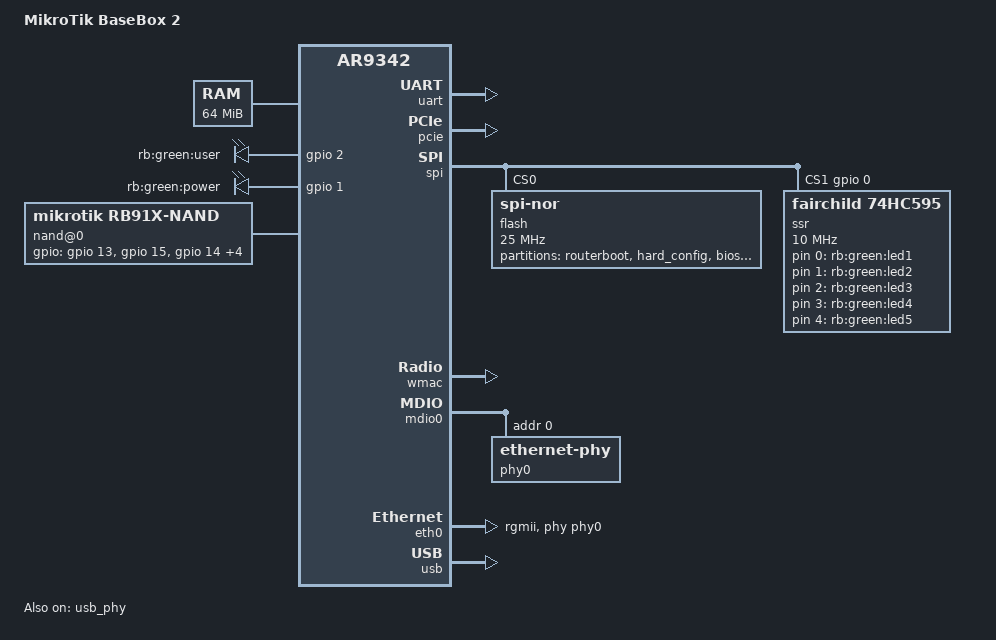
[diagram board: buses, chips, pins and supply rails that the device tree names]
// SPDX-License-Identifier: GPL-2.0
/dts-v1/;

#include <dt-bindings/gpio/gpio.h>
#include <dt-bindings/input/input.h>

#include "ar9344.dtsi"

/ {
	compatible = "mikrotik,basebox-2", "qca,ar9342";
	model = "MikroTik BaseBox 2";

	memory {
		device_type = "memory";
		reg = <0x0 0x4000000>;
	};

	aliases {
		led-boot = &user;
		led-failsafe = &user;
		led-running = &user;
		led-upgrade = &user;
	};

	leds {
		compatible = "gpio-leds";
		
		led1 {
			label = "rb:green:led1";
			gpios = <&ssr 0 GPIO_ACTIVE_HIGH>;
		};

		led2 {
			label = "rb:green:led2";
			gpios = <&ssr 1 GPIO_ACTIVE_HIGH>;
		};

		led3 {
			label = "rb:green:led3";
			gpios = <&ssr 2 GPIO_ACTIVE_HIGH>;
		};

		led4 {
			label = "rb:green:led4";
			gpios = <&ssr 3 GPIO_ACTIVE_HIGH>;
		};

		led5 {
			label = "rb:green:led5";
			gpios = <&ssr 4 GPIO_ACTIVE_HIGH>;
		};

		user: user {
			label = "rb:green:user";
			gpios = <&gpio 2 GPIO_ACTIVE_HIGH>;
		};

		power {
			label = "rb:green:power";
			gpios = <&gpio 1 GPIO_ACTIVE_HIGH>;
			default-state = "on";
			panic-indicator;
		};
	};

	nand@0 {
		compatible = "mikrotik,rb91x-nand";
		gpios = <&gpio 13 0>, <&gpio 15 0>, <&gpio 14 0>, <&gpio 3 0>, <&gpio 12 0>, <&gpio 4 0>, <&gpio 11 0>;
	};
};

&ref {
	clock-frequency = <25000000>;
};

&uart {
	status = "okay";
};

&gpio {
	status = "okay";
};

&pcie {
	status = "okay";
};

&spi {
	status = "okay";
	num-cs = <2>;
	cs-gpios = <0>, <&gpio 0 GPIO_ACTIVE_HIGH>;

	flash@0 {
		compatible = "jedec,spi-nor";
		reg = <0>;
		spi-max-frequency = <25000000>;

		partitions {
			compatible = "fixed-partitions";
			#address-cells = <1>;
			#size-cells = <1>;

			routerboot: partition@0 {
				label = "routerboot";
				reg = <0x000000 0xc000>;
				read-only;
			};

			hard_config: partition@c000 {
				label = "hard_config";
				reg = <0xc000 0x1000>;
				read-only;
			};

			bios: partition@d000 {
				label = "bios";
				reg = <0xd000 0x1000>;
				read-only;
			};
			soft_config: partition@e000 {
				label = "soft_config";
				reg = <0xe000 0x1000>;
			};
		};
	};

	ssr: ssr@1 {
		compatible = "fairchild,74hc595";
		reg = <1>;
		spi-max-frequency = <10000000>;
		gpio-controller;
		#gpio-cells = <2>;
		registers-number = <1>;

		enable-bit-5 {
			gpio-hog;
			gpios = <5 GPIO_ACTIVE_HIGH>;
			output-high;
			line-name = "enable BIT-5";
		};

		enable-usb-power {
			gpio-hog;
			gpios = <6 GPIO_ACTIVE_HIGH>;
			output-high;
			line-name = "enable USB power";
		};

		enable-pcie-power {
			gpio-hog;
			gpios = <7 GPIO_ACTIVE_HIGH>;
			output-high;
			line-name = "enable PCI-E power";
		};
	};
};

&wmac {
	status = "okay";

	qca,no-eeprom;
	//eeprom-name = "soc_wmac.eeprom";
	mtd-mac-address = <&hard_config 0x10>;
	mtd-mac-address-increment = <1>;
};

&mdio0 {
	status = "okay";

	phy-mask = <0>;

	phy0: ethernet-phy@0 {
		reg = <0>;
		phy-mode = "rgmii-id";
		at803x-disable-smarteee;
	};
};

&eth0 {
	status = "okay";

	/* default for ar934x, except for 1000M */
	pll-data = <0x06000000 0x00000101 0x00001616>;

	mtd-mac-address = <&hard_config 0x10>;

	phy-mode = "rgmii";
	phy-handle = <&phy0>;
};

&usb {
	status = "okay";

	port@1 {
		reg = <1>;
		#trigger-source-cells = <0>;
	};
};

&usb_phy {
	status = "okay";
};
